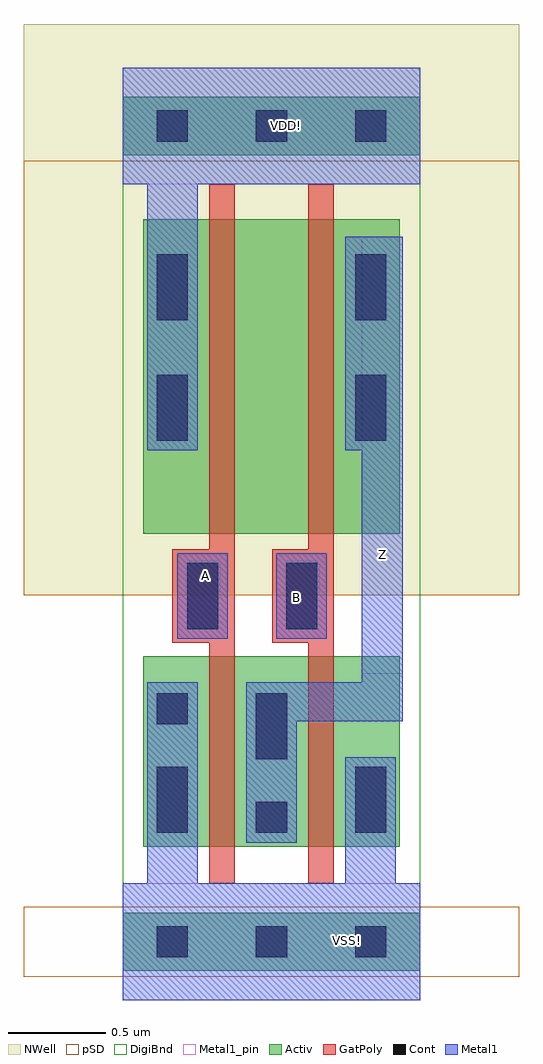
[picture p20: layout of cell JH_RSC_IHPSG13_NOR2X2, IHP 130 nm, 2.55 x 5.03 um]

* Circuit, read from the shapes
.subckt JH_RSC_IHPSG13_NOR2X2 A B VDD! VSS! Z
XM1 Z A VSS! VSS! sg13_lv_nmos w=0.98u l=0.13u
XM2 VSS! B Z VSS! sg13_lv_nmos w=0.98u l=0.13u
XM3 n1 A VDD! VDD! sg13_lv_pmos w=1.62u l=0.13u
XM4 Z B n1 VDD! sg13_lv_pmos w=1.62u l=0.13u
.ends

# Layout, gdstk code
import gdstk
lib = gdstk.Library(unit=1e-6, precision=1e-09)
def R(c, l, rs):  # rectangles x0, y0, x1, y1
    for r in rs: c.add(gdstk.rectangle(r[:2], r[2:], *l))
def A(c, l, x, y, w, h, nx, ny, dx, dy):  # array of equal rectangles
    R(c, l, [(x+i*dx, y+j*dy, x+i*dx+w, y+j*dy+h) for i in range(nx) for j in range(ny)])
def P(c, l, *ps):  # polygons
    for p in ps: c.add(gdstk.Polygon(p, *l))
Activ = (1, 0)
GatPoly = (5, 0)
Cont = (6, 0)
Metal1 = (8, 0)
Metal1_pin = (8, 2)
pSD = (14, 0)
DigiBnd = (16, 0)
NWell = (31, 0)

jh_rsc_ihpsg13_nor2x2 = lib.new_cell('JH_RSC_IHPSG13_NOR2X2')
R(jh_rsc_ihpsg13_nor2x2, Activ, [(0,-0.15,1.53,0.15), (0.105,0.49,1.425,1.47), (0.105,2.1,1.425,3.72), (0,4.05,1.53,4.35)])
P(jh_rsc_ihpsg13_nor2x2, GatPoly, [(0.955,0.3),(0.955,1.54),(0.77,1.54),(0.77,2.02),(0.955,2.02),(0.955,3.9),(1.085,3.9),(1.085,0.3)],
  [(0.445,0.3),(0.445,1.54),(0.255,1.54),(0.255,2.02),(0.445,2.02),(0.445,3.9),(0.575,3.9),(0.575,0.3)])
A(jh_rsc_ihpsg13_nor2x2, Cont, 0.175, -0.08, 0.16, 0.16, 3, 2, 0.51, 4.2)
R(jh_rsc_ihpsg13_nor2x2, Cont, [(0.175,0.56,0.335,0.9), (0.685,0.56,0.845,0.72), (1.195,0.56,1.355,0.9), (0.685,0.94,0.845,1.28), (0.175,1.12,0.335,1.28), (0.33,1.61,0.49,1.95), (0.84,1.61,1,1.95), (0.175,2.58,0.335,2.92), (1.195,2.58,1.355,2.92), (0.175,3.2,0.335,3.54), (1.195,3.2,1.355,3.54)])
R(jh_rsc_ihpsg13_nor2x2, Metal1, [(0.28,1.56,0.54,2), (0.79,1.56,1.05,2)])
P(jh_rsc_ihpsg13_nor2x2, Metal1, [(0.635,0.51),(0.635,1.335),(1.23,1.335),(1.23,2.53),(1.145,2.53),(1.145,3.63),(1.44,3.63),(1.44,1.135),(0.895,1.135),(0.895,0.51)],
  [(0.125,2.53),(0.125,3.9),(0,3.9),(0,4.5),(1.53,4.5),(1.53,3.9),(0.385,3.9),(0.385,2.53)],
  [(0,-0.3),(0,0.3),(0.125,0.3),(0.125,1.335),(0.385,1.335),(0.385,0.3),(1.145,0.3),(1.145,0.95),(1.405,0.95),(1.405,0.3),(1.53,0.3),(1.53,-0.3)])
R(jh_rsc_ihpsg13_nor2x2, Metal1_pin, [(0,-0.3,1.53,0.3), (1.23,1.38,1.44,3.63), (0.28,1.56,0.54,2), (0.79,1.56,1.05,2), (0,3.9,1.53,4.5)])
R(jh_rsc_ihpsg13_nor2x2, pSD, [(-0.51,-0.18,2.04,0.18), (-0.51,1.785,2.04,4.02)])
R(jh_rsc_ihpsg13_nor2x2, DigiBnd, [(0,-0.3,1.53,4.5)])
R(jh_rsc_ihpsg13_nor2x2, NWell, [(-0.51,1.785,2.04,4.725)])
jh_rsc_ihpsg13_nor2x2.add(gdstk.Label('VSS!', (1.155,0.005), layer=8, texttype=2))
jh_rsc_ihpsg13_nor2x2.add(gdstk.Label('VDD!', (0.84,4.2), layer=8, texttype=2))
jh_rsc_ihpsg13_nor2x2.add(gdstk.Label('Z', (1.335,1.995), layer=8, texttype=2))
jh_rsc_ihpsg13_nor2x2.add(gdstk.Label('B', (0.895,1.77), layer=8, texttype=2))
jh_rsc_ihpsg13_nor2x2.add(gdstk.Label('A', (0.425,1.885), layer=8, texttype=2))

lib.write_gds('JH_RSC_IHPSG13_NOR2X2.gds')
